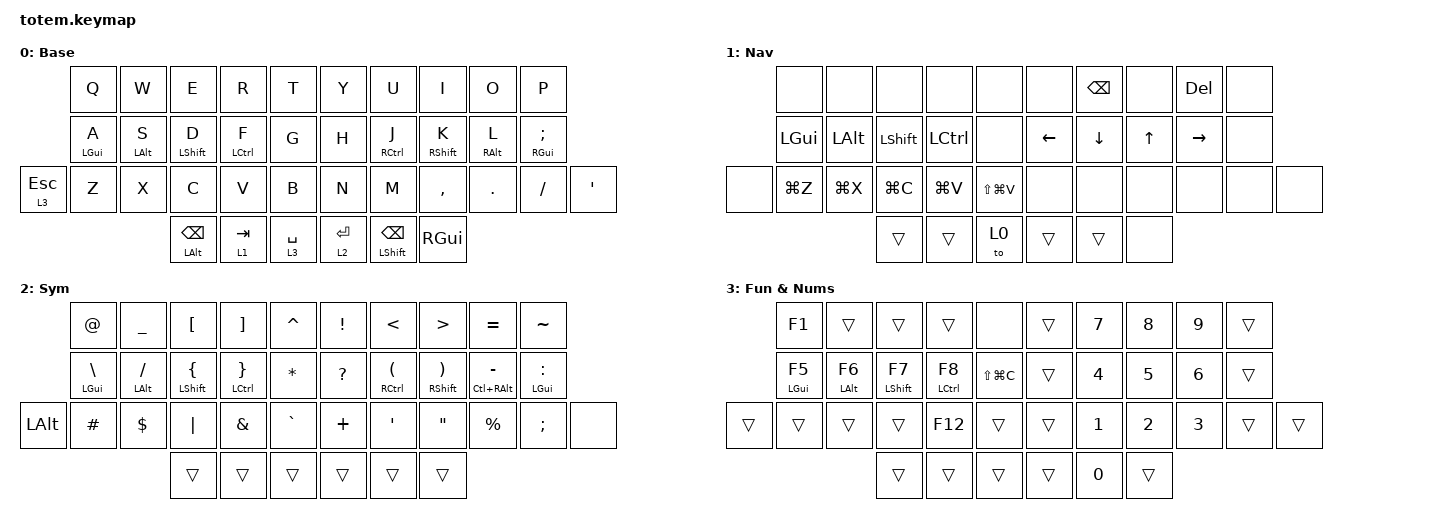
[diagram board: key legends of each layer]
//
//                                                        ▀▀▀▀▀     ▀▀▀▀▀          ▀▀█▀▀
//                                                        ▄▀▀▀▄  ▄  ▄▀▀▀▄  ▄  ▄▀▀▀▄  █  ▄▀▀▀▄
//                                                        █   █  █  █   █  █  █   █  █  █   █
//                                                         ▀▀▀   █   ▀▀▀   █   ▀▀▀   ▀   ▀▀▀
//                                                               █      ▄▄▄█▄▄▄    █   █  
//                                                               ▀      █  █  █     █▄█
//                                                             ▀▀▀▀▀    █  █  █      ▀
//                                                                      ▀  ▀  ▀
//
// ▄▄▄▄▄▄▄▄▄▄▄▄▄▄▄▄▄▄▄▄▄▄▄▄▄▄▄▄▄▄▄▄▄▄▄▄▄▄▄▄▄▄▄▄▄▄▄▄▄▄▄▄▄▄▄▄▄▄▄▄▄▄▄▄▄▄▄▄▄▄▄▄▄▄▄▄▄▄▄▄▄▄▄▄▄▄▄▄▄▄▄▄▄▄▄▄▄▄▄▄▄▄▄▄▄▄▄▄▄▄▄▄▄▄▄▄▄▄▄▄▄▄▄▄▄▄▄▄▄▄▄▄▄▄▄▄▄▄▄▄▄▄▄▄▄▄▄▄▄

#include <behaviors.dtsi>
#include <dt-bindings/zmk/keys.h>

#define Base        0
#define Nav         1
#define Sym         2
#define Fun         3
#define Game        4
#define Gameplus    5

&mt {
    quick-tap-ms = <100>;
    global-quick-tap;
    flavor = "tap-preferred";
    tapping-term-ms = <170>;
};

&lt {
    tapping-term-ms = <240>;
    flavor = "balanced";
    quick-tap-ms = <150>;
};

/ {
    behaviors {
        hm: homerow_mods {
            compatible = "zmk,behavior-hold-tap";
            label = "HOMEROW_MODS";
            #binding-cells = <2>;
            flavor = "tap-preferred";
            tapping-term-ms = <200>;
            quick-tap-ms = <125>;
            global-quick-tap;
            bindings = <&kp>, <&kp>;
        };
    };

    combos {
        compatible = "zmk,combos";

        Navigation {
            bindings = <&to 1>;
            key-positions = <13 16>;
        };
    };

    keymap {
        compatible = "zmk,keymap";

        Base {
            display-name = "Base";
            bindings = <
              &kp Q       &kp W       &kp E                   &kp R        &kp T          &kp Y        &kp U                &kp I              &kp O       &kp P
              &hm LGUI A  &hm LALT S  &hm LEFT_SHIFT D        &hm LCTRL F  &kp G          &kp H        &hm RCTRL J          &hm RIGHT_SHIFT K  &hm RALT L  &hm RGUI SEMICOLON
&lt 3 ESCAPE  &kp Z       &kp X       &kp C                   &kp V        &kp B          &kp N        &kp M                &kp COMMA          &kp DOT     &kp SLASH           &kp APOSTROPHE
                                      &mt LEFT_ALT BACKSPACE  &lt 1 TAB    &lt 3 SPACE    &lt 2 ENTER  &mt LEFT_SHIFT BSPC  &kp RGUI
            >;
        };

        Nav {
            display-name = "Nav";
            bindings = <
       &none      &none         &none       &none      &none            &none           &kp BACKSPACE   &none         &kp DELETE       &none
       &kp LGUI   &kp LEFT_ALT  &kp LSHIFT  &kp LCTRL  &none            &kp LEFT_ARROW  &kp DOWN_ARROW  &kp UP_ARROW  &kp RIGHT_ARROW  &none
&none  &kp LG(Z)  &kp LG(X)     &kp LG(C)   &kp LG(V)  &kp LS(LG(V))    &none           &none           &none         &none            &none  &none
                                &trans      &trans     &to 0            &trans          &trans          &none
            >;
        };

        Sym {
            display-name = "Sym";
            bindings = <
              &kp AT              &kp UNDERSCORE      &kp LBKT                   &kp RBKT               &kp CARET       &kp EXCLAMATION  &kp LESS_THAN               &kp GREATER_THAN                   &kp EQUAL                &kp TILDE
              &hm LGUI BACKSLASH  &hm LEFT_ALT SLASH  &hm LEFT_SHIFT LEFT_BRACE  &hm LCTRL RIGHT_BRACE  &kp ASTERISK    &kp QUESTION     &hm RCTRL LEFT_PARENTHESIS  &hm RIGHT_SHIFT RIGHT_PARENTHESIS  &hm LC(RIGHT_ALT) MINUS  &hm LGUI COLON
&kp LEFT_ALT  &kp HASH            &kp DOLLAR          &kp PIPE                   &kp AMPERSAND          &kp GRAVE       &kp PLUS         &kp SQT                     &kp DOUBLE_QUOTES                  &kp PERCENT              &kp SEMICOLON   &none
                                                      &trans                     &trans                 &trans          &trans           &trans                      &trans
            >;
        };

        Fun {
            display-name = "Fun & Nums";
            bindings = <
        &kp F1       &trans           &trans             &trans        &none            &trans  &kp N7        &kp NUMBER_8  &kp NUMBER_9  &trans
        &hm LGUI F5  &hm LEFT_ALT F6  &hm LEFT_SHIFT F7  &hm LCTRL F8  &kp LS(LG(C))    &trans  &kp NUMBER_4  &kp N5        &kp NUMBER_6  &trans
&trans  &trans       &trans           &trans             &kp F12       &trans           &trans  &kp NUMBER_1  &kp NUMBER_2  &kp NUMBER_3  &trans  &trans
                                      &trans             &trans        &trans           &trans  &kp NUMBER_0  &trans
            >;
        };
    };
};
